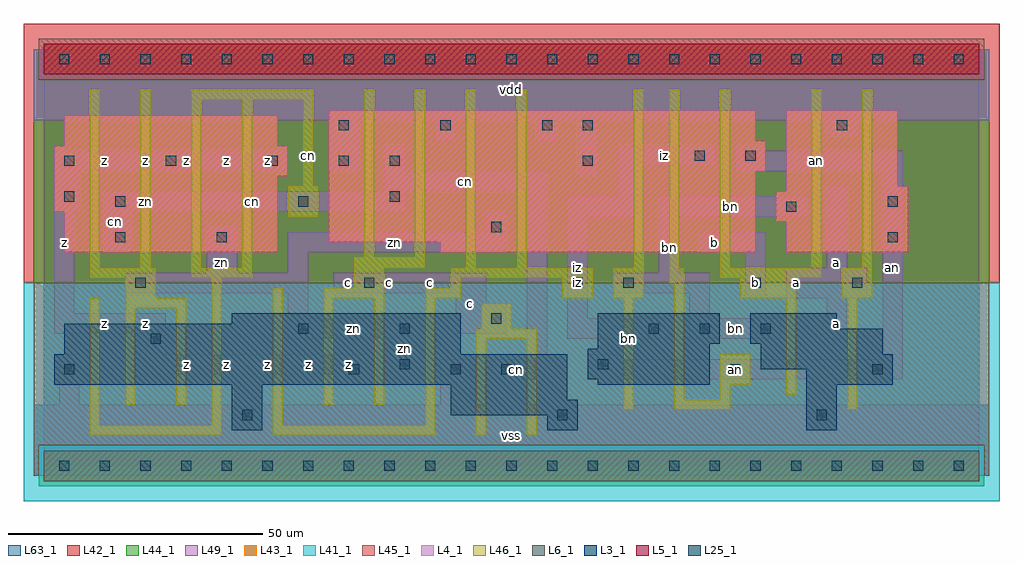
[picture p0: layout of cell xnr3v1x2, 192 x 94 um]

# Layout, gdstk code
import gdstk
lib = gdstk.Library(unit=1e-6, precision=1e-09)
def R(c, l, rs):  # rectangles x0, y0, x1, y1
    for r in rs: c.add(gdstk.rectangle(r[:2], r[2:], *l))
def A(c, l, x, y, w, h, nx, ny, dx, dy):  # array of equal rectangles
    R(c, l, [(x+i*dx, y+j*dy, x+i*dx+w, y+j*dy+h) for i in range(nx) for j in range(ny)])
L3_1 = (3, 1)
L4_1 = (4, 1)
L5_1 = (5, 1)
L6_1 = (6, 1)
L25_1 = (25, 1)
L41_1 = (41, 1)
L42_1 = (42, 1)
L43_1 = (43, 1)
L44_1 = (44, 1)
L45_1 = (45, 1)
L46_1 = (46, 1)
L49_1 = (49, 1)
L63_1 = (63, 1)

xnr3v1x2 = lib.new_cell('xnr3v1x2')
R(xnr3v1x2, L3_1, [(37,7,43,16), (99,7,105,10), (150,7,156,16), (80,10,105,13), (80,13,103,16), (2,16,103,22), (109,16,131,17), (150,16,167,19), (107,17,131,23), (141,19,167,22), (4,22,82,28), (141,22,165,24), (109,23,131,24), (109,24,133,30), (139,24,165,27), (139,27,156,30), (37,28,82,30)])
R(xnr3v1x2, L4_1, [(4,42,46,50), (78,42,140,44), (146,42,170,48), (56,44,140,58), (144,48,170,54), (2,50,46,57), (146,54,170,55), (146,55,168,70), (2,57,48,63), (56,58,142,64), (4,63,46,69), (56,64,140,70)])
R(xnr3v1x2, L5_1, [(0,77,184,83)])
R(xnr3v1x2, L6_1, [(0,-3,184,3), (0,-3,184,3)])
A(xnr3v1x2, L25_1, 3, -1, 2, 2, 23, 2, 8, 80)
A(xnr3v1x2, L25_1, 4, 59, 2, 2, 3, 1, 20, 0)
A(xnr3v1x2, L25_1, 58, 66, 2, 2, 3, 1, 20, 0)
R(xnr3v1x2, L25_1, [(39,9,41,11), (101,9,103,11), (152,9,154,11), (4,18,6,20), (60,18,62,20), (80,18,82,20), (90,18,92,20), (135,18,137,20), (163,18,165,20), (70,19,72,21), (109,19,111,21), (21,24,23,26), (50,26,52,28), (70,26,72,28), (119,26,121,28), (129,26,131,28), (141,26,143,28), (88,28,90,30), (18,35,20,37), (63,35,65,37), (104,35,106,37), (114,35,116,37), (139,35,141,37), (159,35,161,37), (14,44,16,46), (34,44,36,46), (166,44,168,46), (88,46,90,48), (146,50,148,52), (14,51,16,53), (50,51,52,53), (166,51,168,53), (4,52,6,54), (68,52,70,54), (58,59,60,61), (68,59,70,61), (106,59,108,61), (128,60,130,62), (138,60,140,62), (106,66,108,68), (156,66,158,68)])
R(xnr3v1x2, L41_1, [(-4,-7,188,36)])
R(xnr3v1x2, L42_1, [(-4,36,188,87)])
R(xnr3v1x2, L43_1, [(0,-3,184,3), (37,7,43,16), (99,7,105,10), (150,7,156,16), (80,10,105,13), (80,13,103,16), (2,16,103,22), (109,16,131,17), (150,16,167,19), (107,17,131,23), (141,19,167,22), (4,22,82,28), (141,22,165,24), (109,23,131,24), (109,24,133,30), (139,24,165,27), (139,27,156,30), (37,28,82,30), (4,42,46,50), (78,42,140,44), (146,42,170,48), (56,44,140,58), (144,48,170,54), (2,50,46,57), (146,54,170,55), (146,55,168,70), (2,57,48,63), (56,58,142,64), (4,63,46,69), (56,64,140,70), (0,77,184,83)])
R(xnr3v1x2, L44_1, [(-1,-4,185,4), (-2,36,186,76), (-2,76,-1,82), (185,76,186,82)])
R(xnr3v1x2, L45_1, [(-2,-2,-1,4), (185,-2,186,4), (-2,4,186,36), (-1,76,185,84)])
R(xnr3v1x2, L46_1, [(9,6,35,8), (45,6,77,8), (85,6,87,25), (95,6,97,25), (9,8,11,33), (33,8,35,37), (45,8,47,35), (75,8,77,33), (114,11,116,33), (124,11,135,13), (158,11,160,33), (16,12,18,31), (26,12,28,31), (55,12,57,33), (65,12,67,33), (124,13,126,36), (133,13,135,16), (146,14,148,33), (133,16,139,22), (85,25,97,27), (86,27,92,32), (16,31,28,33), (16,33,22,37), (55,33,67,35), (75,33,82,35), (102,33,108,37), (112,33,118,39), (137,33,148,37), (157,33,163,39), (61,35,67,39), (80,35,82,37), (123,36,126,39), (9,37,22,39), (29,37,41,39), (80,37,108,39), (133,37,153,39), (9,39,11,74), (19,39,21,74), (29,39,31,72), (39,39,41,72), (61,39,75,41), (83,39,85,74), (93,39,95,74), (116,39,118,74), (123,39,125,74), (133,39,135,74), (151,39,153,74), (161,39,163,74), (63,41,65,74), (73,41,75,74), (48,49,54,55), (51,55,53,72), (29,72,53,74)])
R(xnr3v1x2, L49_1, [(-2,-2,186,12), (3,12,7,22), (78,12,84,21), (58,17,64,18), (69,17,74,25), (88,17,99,21), (107,17,169,21), (20,18,64,22), (95,21,99,54), (107,21,113,22), (165,21,169,58), (20,22,24,26), (48,25,74,29), (103,25,123,29), (127,25,145,29), (154,25,158,33), (2,26,24,30), (81,26,91,32), (48,29,52,34), (103,29,107,49), (127,29,131,34), (2,30,6,50), (81,32,87,34), (138,33,142,42), (146,33,162,39), (16,34,52,38), (57,34,87,38), (112,34,131,38), (32,38,38,47), (48,38,52,42), (121,38,125,49), (154,39,158,55), (12,42,17,50), (48,42,91,46), (129,42,142,46), (87,46,91,50), (103,49,117,53), (121,49,150,53), (2,50,7,58), (12,50,71,54), (113,53,117,59), (67,54,99,58), (105,57,109,68), (2,58,48,62), (56,58,62,68), (67,58,71,63), (136,58,169,62), (113,59,132,63), (136,62,142,63), (77,64,81,68), (97,64,101,68), (154,65,160,68), (-2,68,186,82)])
R(xnr3v1x2, L63_1, [(0,0,184,80)])
xnr3v1x2.add(gdstk.Label('zn', (20,52), layer=46, texttype=1))
xnr3v1x2.add(gdstk.Label('cn', (52,61), layer=46, texttype=1))
xnr3v1x2.add(gdstk.Label('bn', (115,25), layer=46, texttype=1))
xnr3v1x2.add(gdstk.Label('iz', (105,36), layer=49, texttype=1))
xnr3v1x2.add(gdstk.Label('an', (136,19), layer=49, texttype=1))
xnr3v1x2.add(gdstk.Label('z', (12,28), layer=49, texttype=1))
xnr3v1x2.add(gdstk.Label('z', (20,28), layer=49, texttype=1))
xnr3v1x2.add(gdstk.Label('z', (4,44), layer=49, texttype=1))
xnr3v1x2.add(gdstk.Label('cn', (14,48), layer=49, texttype=1))
xnr3v1x2.add(gdstk.Label('z', (20,60), layer=49, texttype=1))
xnr3v1x2.add(gdstk.Label('z', (12,60), layer=49, texttype=1))
xnr3v1x2.add(gdstk.Label('z', (28,20), layer=49, texttype=1))
xnr3v1x2.add(gdstk.Label('z', (52,20), layer=49, texttype=1))
xnr3v1x2.add(gdstk.Label('z', (44,20), layer=49, texttype=1))
xnr3v1x2.add(gdstk.Label('z', (36,20), layer=49, texttype=1))
xnr3v1x2.add(gdstk.Label('zn', (35,40), layer=49, texttype=1))
xnr3v1x2.add(gdstk.Label('z', (28,60), layer=49, texttype=1))
xnr3v1x2.add(gdstk.Label('z', (44,60), layer=49, texttype=1))
xnr3v1x2.add(gdstk.Label('z', (36,60), layer=49, texttype=1))
xnr3v1x2.add(gdstk.Label('z', (60,20), layer=49, texttype=1))
xnr3v1x2.add(gdstk.Label('zn', (71,23), layer=49, texttype=1))
xnr3v1x2.add(gdstk.Label('zn', (61,27), layer=49, texttype=1))
xnr3v1x2.add(gdstk.Label('c', (60,36), layer=49, texttype=1))
xnr3v1x2.add(gdstk.Label('c', (76,36), layer=49, texttype=1))
xnr3v1x2.add(gdstk.Label('c', (84,32), layer=49, texttype=1))
xnr3v1x2.add(gdstk.Label('c', (68,36), layer=49, texttype=1))
xnr3v1x2.add(gdstk.Label('zn', (69,44), layer=49, texttype=1))
xnr3v1x2.add(gdstk.Label('cn', (41,52), layer=49, texttype=1))
xnr3v1x2.add(gdstk.Label('vss', (92,6), layer=49, texttype=1))
xnr3v1x2.add(gdstk.Label('cn', (93,19), layer=49, texttype=1))
xnr3v1x2.add(gdstk.Label('iz', (105,39), layer=49, texttype=1))
xnr3v1x2.add(gdstk.Label('cn', (83,56), layer=49, texttype=1))
xnr3v1x2.add(gdstk.Label('vdd', (92,74), layer=49, texttype=1))
xnr3v1x2.add(gdstk.Label('bn', (136,27), layer=49, texttype=1))
xnr3v1x2.add(gdstk.Label('iz', (113,27), layer=49, texttype=1))
xnr3v1x2.add(gdstk.Label('a', (148,36), layer=49, texttype=1))
xnr3v1x2.add(gdstk.Label('b', (140,36), layer=49, texttype=1))
xnr3v1x2.add(gdstk.Label('b', (132,44), layer=49, texttype=1))
xnr3v1x2.add(gdstk.Label('bn', (123,43), layer=49, texttype=1))
xnr3v1x2.add(gdstk.Label('bn', (135,51), layer=49, texttype=1))
xnr3v1x2.add(gdstk.Label('iz', (122,61), layer=49, texttype=1))
xnr3v1x2.add(gdstk.Label('an', (138,19), layer=49, texttype=1))
xnr3v1x2.add(gdstk.Label('a', (156,28), layer=49, texttype=1))
xnr3v1x2.add(gdstk.Label('a', (156,40), layer=49, texttype=1))
xnr3v1x2.add(gdstk.Label('an', (167,39), layer=49, texttype=1))
xnr3v1x2.add(gdstk.Label('an', (152,60), layer=49, texttype=1))

lib.write_gds('xnr3v1x2.gds')
